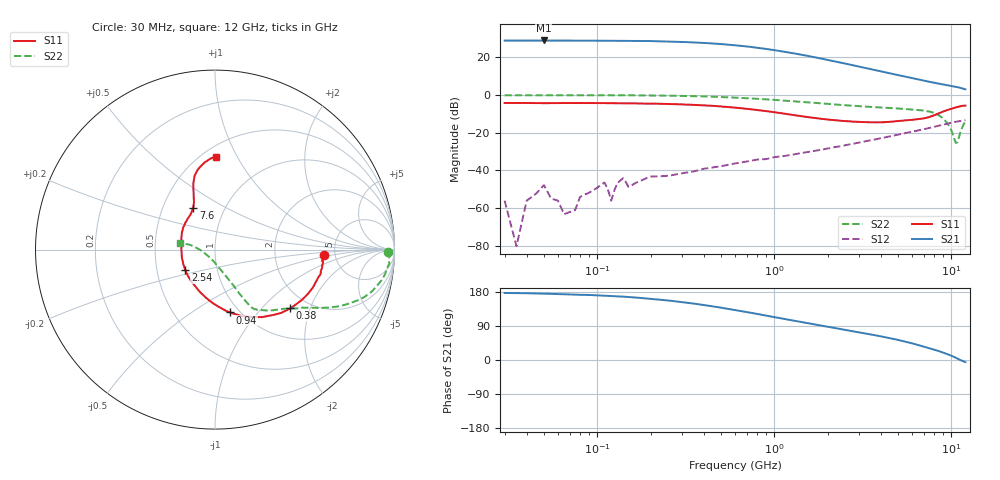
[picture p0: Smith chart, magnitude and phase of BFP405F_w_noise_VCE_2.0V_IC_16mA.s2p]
! Infineon Technologies  Discrete & RF Semiconductors
! BFP405F
! VCE =  2.0 V,  IC =  16 mA
! Common Emitter S-Parameters:  Nov 2015
# GHz  S  MA  R  50
!  f  S11  S21  S12  S22
! GHz  MAG  ANG  MAG  ANG  MAG  ANG  MAG  ANG
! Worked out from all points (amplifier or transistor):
!   239 points, 30 MHz to 12 GHz, reference 50 ohm
!   highest |S21| = 28.7 dB at 50 MHz (marker M1)
!   |S21| within 3 dB of that: start of sweep to 672.4 MHz
!   unconditionally stable (mu >= 1): 32.98 MHz to 37.59 MHz; 65.14 MHz to 73.33 MHz; 1.746 GHz to end of sweep
!   at 300 MHz: K = 0.25, MSG = 34.7 dB, |S12| = -41.5 dB
!   at 1.88 GHz: K = 1.04, MAG = 22.7 dB, |S12| = -28.9 dB
!   at 12 GHz: K = 1.39, MAG = 4.5 dB, |S12| = -13.5 dB
!   lowest NFmin = 2.03 dB at 450 MHz
!   S11 on the Smith chart (normalised r, x): 30 MHz: 4.05, -0.42; 380 MHz: 1.62, -1.47; 940 MHz: 0.91, -0.73; 2.54 GHz: 0.70, -0.17; 7.6 GHz: 0.71, +0.36; 12 GHz: 0.58, +0.83
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0.03  0.6072 -3.1  26.99 176.9  0.0016 -105.1  0.9665 -0.7
0.035  0.6074 -3.6  27.01 176.5  0.0001 -17.3  0.9693 -0.8
0.04  0.6076 -4.0  27.04 176.2  0.0016 70.6  0.9722 -0.9
0.05  0.5993 -6.1  27.23 174.9  0.0041 -4.9  0.9697 -1.5
0.065  0.6056 -6.7  27 173.5  0.0007 86.5  0.9709 -1.8
0.085  0.6046 -9.0  26.89 171.8  0.0023 92.8  0.9728 -3.0
0.12  0.6039 -12.8  26.7 169.0  0.0016 51.0  0.9751 -4.5
0.15  0.5935 -16.1  26.62 166.3  0.0037 74.1  0.9664 -5.8
0.24  0.5751 -24.8  25.66 158.0  0.0071 89.2  0.9505 -9.4
0.3  0.5578 -30.5  24.94 152.8  0.0084 82.5  0.9334 -11.6
0.38  0.5316 -37.9  23.74 146.6  0.0104 75.6  0.9112 -14.2
0.46  0.5064 -44.4  22.51 140.8  0.0123 76.1  0.8861 -16.5
0.6  0.4579 -55.3  20.32 131.9  0.0153 73.2  0.8419 -19.7
0.7  0.4262 -61.8  18.9 126.4  0.0173 71.8  0.8115 -21.5
0.94  0.3603 -76.4  15.79 115.5  0.021 69.9  0.7481 -25.1
1.3  0.2884 -95.2  12.34 103.3  0.0267 69.4  0.6733 -28.9
1.64  0.2478 -110.6  10.08 95.1  0.032 68.6  0.6203 -31.5
2.54  0.2008 -145.2  6.606 79.3  0.0468 67.2  0.527 -38.6
4.5  0.1938 166.4  3.674 57.6  0.0797 61.7  0.4489 -49.0
7.6  0.2637 117.5  2.178 30.6  0.1345 48.6  0.3555 -58.6
10.6  0.4636 100.9  1.626 5.9  0.1937 31.4  0.0532 -119.9
12  0.5186 89.3  1.393 -5.6  0.2117 23.3  0.1994 169.7
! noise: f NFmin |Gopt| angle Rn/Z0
0.45  2.03  0.08  1  0.37
0.9  2.05  0.07  3  0.39
1.5  2.1  0.06  5  0.16
1.9  2.15  0.05  6  0.27
2.4  2.3  0.02  -8  0.38
3  2.38  0.02  -67  0.22
3.5  2.44  0.03  -99  0.35
4.5  2.65  0.09  -97  0.43
5.5  2.93  0.18  -88  0.16
